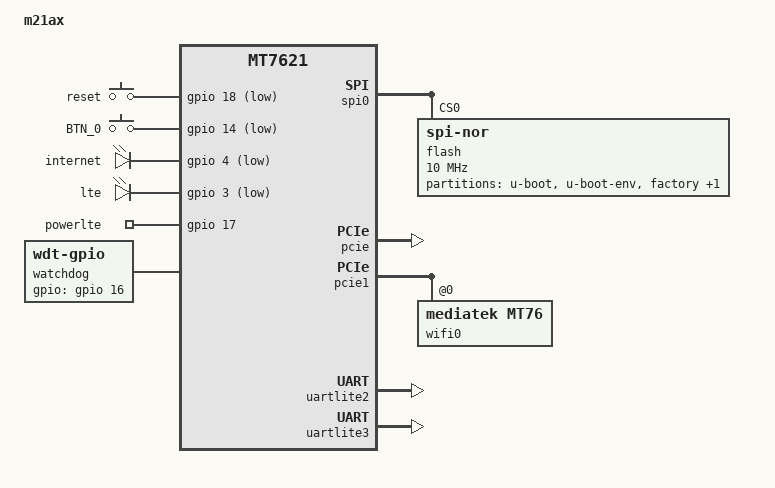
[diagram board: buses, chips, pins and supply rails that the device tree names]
#include "mt7621.dtsi"

#include <dt-bindings/gpio/gpio.h>
#include <dt-bindings/input/input.h>

/ {
	compatible = "ylx,m21ax", "mediatek,mt7621-soc";
	model = "m21ax";

	aliases {
		led-boot = &led_status;
		led-failsafe = &led_status;
		led-running = &led_status;
		led-upgrade = &led_status;
		label-mac-device = &wifi0;
	};

	chosen {
		bootargs = "console=ttyS0,115200";
	};

	keys {
		compatible = "gpio-keys";

		reset {
			label = "reset";
			gpios = <&gpio 18 GPIO_ACTIVE_LOW>;
			linux,code = <KEY_RESTART>;
		};
		sim {
			label = "BTN_0";
			gpios = <&gpio 14 1>; //gpio14 
			linux,code = <0x100>;
			
		};
	};

	leds {
		compatible = "gpio-leds";

		led_status: status {
			label = "internet";
			gpios = <&gpio 4 GPIO_ACTIVE_LOW>;
		};
		lte {
			label = "lte";
			gpios = <&gpio 3 GPIO_ACTIVE_LOW>;
		};
	};
	gpio_export {
		compatible = "gpio-export";
		#size-cells = <0>;

		power_5g {
			gpio-export,name = "powerlte";
			gpio-export,output = <1>;
			gpios = <&gpio 17 GPIO_ACTIVE_HIGH>;
		};

	};

	watchdog {
		compatible = "linux,wdt-gpio";
		gpios = <&gpio 16 GPIO_ACTIVE_HIGH>;
		hw_algo = "toggle";
		hw_margin_ms = <1300>;
		always-running;
	};
};

// &i2c {
// 	status = "okay";
// };

// &sdhci {
// 	status = "okay";
// };

&spi0 {
	status = "okay";

	flash@0 {
		compatible = "jedec,spi-nor";
		reg = <0>;
		spi-max-frequency = <10000000>;

		partitions {
			compatible = "fixed-partitions";
			#address-cells = <1>;
			#size-cells = <1>;

			partition@0 {
				label = "u-boot";
				reg = <0x0 0x40000>;
				read-only;
			};

			partition@40000 {
				label = "u-boot-env";
				reg = <0x40000 0x10000>;
				read-only;
			};

			factory: partition@50000 {
				label = "factory";
				reg = <0x50000 0x40000>;
				read-only;
			};

			firmware: partition@90000 {
				compatible = "denx,uimage";
				reg = <0x90000 0xf70000>;
				label = "firmware";
			};
		};
	};
};

&pcie {
       status = "okay";
};

&pcie1 {
       wifi0: wifi@0,0 {
               compatible = "mediatek,mt76";
               reg = <0x0000 0 0 0 0>;
               mediatek,mtd-eeprom = <&factory 0x0000>;
       };
};

&gmac0 {
	mtd-mac-address = <&factory 0xe000>;
};

&switch0 {
	ports {
		port@0 {
			status = "okay";
			label = "lan1";
		};

		port@1 {
			status = "okay";
			label = "lan2";
		};

		port@2 {
			status = "okay";
			label = "lan3";
		};

		port@3 {
			status = "okay";
			label = "lan4";
		};

		port@4 {
			status = "okay";
			label = "wan";
			mtd-mac-address = <&factory 0xe000>;
			mtd-mac-address-increment = <1>;
		};
	};
};

&state_default {
	gpio {
		groups = "rgmii2","i2c","wdt","jtag";
		function = "gpio";
	};

};

&uartlite2 {
	status = "okay";
};

&uartlite3 {
	status = "okay";
};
